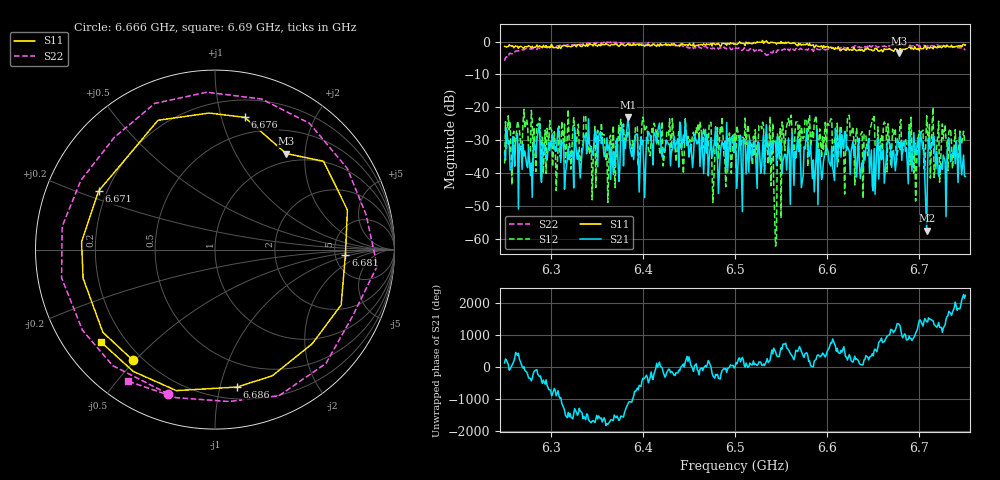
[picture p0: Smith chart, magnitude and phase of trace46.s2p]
# Hz S RI R 50
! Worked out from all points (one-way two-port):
!   401 points, 6.25 GHz to 6.75 GHz, reference 50 ohm
!   highest |S21| = -22.95 dB at 6.384 GHz (marker M1); lowest = -57.5 dB at 6.708 GHz (marker M2)
!   lowest |S11| = -3.5 dB at 6.678 GHz (marker M3), VSWR 4.99, Z = 42.7 + j82.2 ohm
!   |S11| at or under -10 dB: nowhere
!   |S22| runs from -5.9 to -0.1 dB; largest |S21 - S12| = 0.12
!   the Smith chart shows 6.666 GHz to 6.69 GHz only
!   S11 on the Smith chart (normalised r, x): 6.666 GHz: 0.16, -0.49; 6.671 GHz: 0.17, +0.23; 6.676 GHz: 0.35, +1.19; 6.681 GHz: 6.25, -0.72; 6.686 GHz: 0.29, -1.13; 6.69 GHz: 0.11, -0.35
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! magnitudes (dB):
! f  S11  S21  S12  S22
! 6.25 GHz  -1.4  -33.7  -37.1  -5.9
! 6.272 GHz  -1.5  -33.3  -26.3  -2.3
! 6.292 GHz  -1.1  -30.9  -40.2  -1.6
! 6.334 GHz  -1.5  -33.8  -32.0  -0.9
! 6.384 GHz  -0.8  -23.0  -27.3  -0.5
! 6.418 GHz  -1.3  -24.8  -32.9  -1.3
! 6.5 GHz  -0.7  -30.6  -28.1  -2.4
! 6.529 GHz  -0.1  -38.0  -26.5  -3.0
! 6.545 GHz  -0.8  -37.7  -60.9  -3.3
! 6.559 GHz  -0.5  -34.9  -25.6  -2.8
! 6.584 GHz  -1.1  -41.7  -27.0  -2.4
! 6.666 GHz  -2.3  -30.2  -25.0  -1.5
! 6.668 GHz  -2.2  -31.0  -31.9  -1.3
! 6.671 GHz  -2.8  -33.7  -26.7  -1.3
! 6.676 GHz  -2.4  -29.6  -34.2  -1.1
! 6.678 GHz  -3.5  -31.2  -31.7  -1.1
! 6.681 GHz  -2.8  -36.2  -34.6  -1.3
! 6.686 GHz  -2.2  -32.3  -31.3  -1.0
! 6.69 GHz  -1.8  -31.8  -37.5  -1.1
! 6.708 GHz  -2.4  -57.5  -22.6  -1.4
! 6.714 GHz  -2.0  -31.3  -24.6  -1.2
! 6.75 GHz  -1.1  -41.1  -30.7  -2.6
